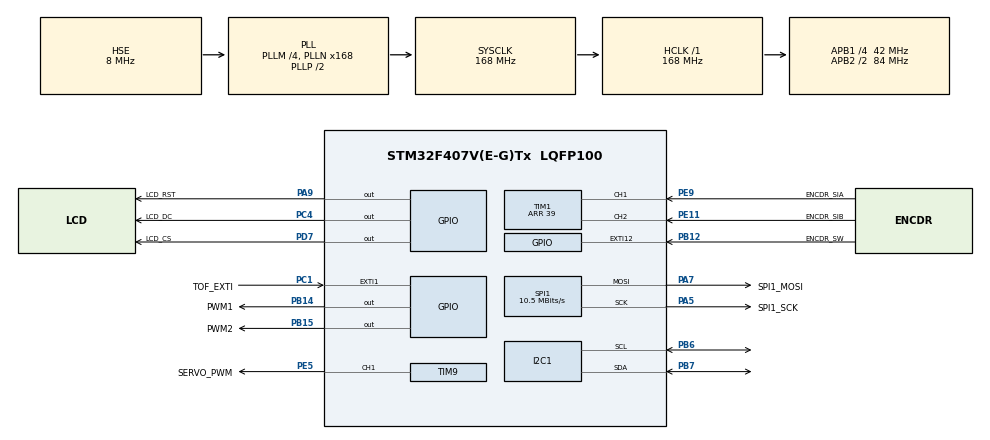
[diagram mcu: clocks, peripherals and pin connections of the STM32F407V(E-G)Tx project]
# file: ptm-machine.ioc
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I2C1.I2C_Mode=I2C_Fast
Mcu.Family=STM32F4
Mcu.Name=STM32F407V(E-G)Tx
Mcu.Package=LQFP100
NVIC.EXTI15_10_IRQn=true\:0\:0\:true\:false\:true\:true\:true
NVIC.EXTI1_IRQn=true\:0\:0\:true\:false\:true\:true\:true
NVIC.PriorityGroup=NVIC_PRIORITYGROUP_4
NVIC.TIM3_IRQn=true\:1\:0\:true\:false\:true\:true\:true
NVIC.TIM7_IRQn=true\:0\:0\:true\:false\:true\:true\:true
PA13.Mode=Serial_Wire
PA13.Signal=SYS_JTMS-SWDIO
PA14.Mode=Serial_Wire
PA14.Signal=SYS_JTCK-SWCLK
PA5.GPIO_Label=SPI1_SCK
PA5.Mode=TX_Only_Simplex_Unidirect_Master
PA5.Signal=SPI1_SCK
PA7.GPIO_Label=SPI1_MOSI
PA7.Mode=TX_Only_Simplex_Unidirect_Master
PA7.Signal=SPI1_MOSI
PA9.GPIO_Label=LCD_RST
PA9.Signal=GPIO_Output
PB12.GPIO_Label=ENCDR_SW
PB12.GPIO_ModeDefaultEXTI=GPIO_MODE_IT_FALLING
PB12.GPIO_PuPd=GPIO_PULLUP
PB12.Signal=GPXTI12
PB14.GPIO_Label=PWM1
PB14.GPIO_PuPd=GPIO_PULLDOWN
PB14.Signal=GPIO_Output
PB15.GPIO_Label=PWM2
PB15.GPIO_PuPd=GPIO_PULLDOWN
PB15.Signal=GPIO_Output
PB6.Mode=I2C
PB6.Signal=I2C1_SCL
PB7.Mode=I2C
PB7.Signal=I2C1_SDA
PC1.GPIO_Label=TOF_EXTI
PC1.GPIO_ModeDefaultEXTI=GPIO_MODE_IT_FALLING
PC1.GPIO_PuPd=GPIO_PULLUP
PC1.Signal=GPXTI1
PC4.GPIO_Label=LCD_DC
PC4.Signal=GPIO_Output
PD7.GPIO_Label=LCD_CS
PD7.Signal=GPIO_Output
PE11.GPIO_Label=ENCDR_SIB
PE11.Signal=S_TIM1_CH2
PE5.GPIO_Label=SERVO_PWM
PE5.Signal=S_TIM9_CH1
PE9.GPIO_Label=ENCDR_SIA
PE9.Signal=S_TIM1_CH1
PH0-OSC_IN.Mode=HSE-External-Oscillator
PH0-OSC_IN.Signal=RCC_OSC_IN
PH1-OSC_OUT.Mode=HSE-External-Oscillator
PH1-OSC_OUT.Signal=RCC_OSC_OUT
ProjectManager.HeapSize=0x200
ProjectManager.StackSize=0x400
ProjectManager.TargetToolchain=STM32CubeIDE
RCC.48MHZClocksFreq_Value=84000000
RCC.AHBFreq_Value=168000000
RCC.APB1CLKDivider=RCC_HCLK_DIV4
RCC.APB1Freq_Value=42000000
RCC.APB1TimFreq_Value=84000000
RCC.APB2CLKDivider=RCC_HCLK_DIV2
RCC.APB2Freq_Value=84000000
RCC.APB2TimFreq_Value=168000000
RCC.CortexFreq_Value=168000000
RCC.HCLKFreq_Value=168000000
RCC.HSE_VALUE=8000000
RCC.HSI_VALUE=16000000
RCC.LSE_VALUE=32768
RCC.PLLM=4
RCC.PLLN=168
RCC.PLLSourceVirtual=RCC_PLLSOURCE_HSE
RCC.SYSCLKFreq_VALUE=168000000
RCC.SYSCLKSource=RCC_SYSCLKSOURCE_PLLCLK
RCC.VCOOutputFreq_Value=336000000
SH.S_TIM1_CH1.0=TIM1_CH1,Encoder_Interface
SH.S_TIM1_CH2.0=TIM1_CH2,Encoder_Interface
SH.S_TIM9_CH1.0=TIM9_CH1,PWM Generation1 CH1
SPI1.BaudRatePrescaler=SPI_BAUDRATEPRESCALER_8
SPI1.CalculateBaudRate=10.5 MBits/s
SPI1.Direction=SPI_DIRECTION_2LINES
SPI1.Mode=SPI_MODE_MASTER
SPI1.VirtualType=VM_MASTER
TIM1.EncoderMode=TIM_ENCODERMODE_TI1
TIM1.IC1Filter=15
TIM1.IC1Polarity=TIM_ICPOLARITY_FALLING
TIM1.IC2Filter=15
TIM1.IC2Polarity=TIM_ICPOLARITY_FALLING
TIM1.Period=39
TIM3.AutoReloadPreload=TIM_AUTORELOAD_PRELOAD_ENABLE
TIM3.Period=9999
TIM3.Prescaler=1049
TIM7.AutoReloadPreload=TIM_AUTORELOAD_PRELOAD_ENABLE
TIM7.Period=99
TIM7.Prescaler=41999
TIM9.AutoReloadPreload=TIM_AUTORELOAD_PRELOAD_ENABLE
TIM9.Channel-PWM\ Generation1\ CH1=TIM_CHANNEL_1
TIM9.Period=19999
TIM9.Prescaler=167
VP_TIM3_VS_ClockSourceINT.Mode=Internal
VP_TIM7_VS_ClockSourceINT.Mode=Enable_Timer
VP_TIM9_VS_ClockSourceINT.Mode=Internal
board=custom

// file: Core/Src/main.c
/* USER CODE BEGIN Header */
/**
 ******************************************************************************
 * @file           : main.c
 * @brief          : Main program body
 ******************************************************************************
 * @attention
 *
 * <h2><center>&copy; Copyright (c) 2020 STMicroelectronics.
 * All rights reserved.</center></h2>
 *
 * This software component is licensed by ST under BSD 3-Clause license,
 * the "License"; You may not use this file except in compliance with the
 * License. You may obtain a copy of the License at:
 *                        opensource.org/licenses/BSD-3-Clause
 *
 ******************************************************************************
 */
/* USER CODE END Header */
#include "main.h"
#include "i2c.h"
#include "spi.h"
#include "tim.h"
#include "gpio.h"

/* USER CODE BEGIN Includes */
#include <string.h>

// Servo
#include "Servo.h"

// LED screen
#include "lcd_menu.h"

// Pumps
#include "pumps.h"

// Distance sensor
#include "vl53l0x_api.h"

/* USER CODE END Includes */

/* USER CODE BEGIN PV */
// Distance sensor
VL53L0X_RangingMeasurementData_t RangingData;
VL53L0X_Dev_t vl53l0x_c;
VL53L0X_DEV Dev = &vl53l0x_c;

/* USER CODE END PV */

void SystemClock_Config(void);

int main(void)
{
  /* USER CODE BEGIN 1 */
  uint32_t refSpadCount;
  uint8_t isApertureSpads;
  uint8_t VhvSettings;
  uint8_t PhaseCal;
  /* USER CODE END 1 */

  /* MCU Configuration--------------------------------------------------------*/

  /* Reset of all peripherals, Initializes the Flash interface and the Systick. */
  HAL_Init();

  /* Configure the system clock */
  SystemClock_Config();

  /* Initialize all configured peripherals */
  MX_GPIO_Init();
  MX_SPI1_Init();
  MX_I2C1_Init();
  MX_TIM1_Init();
  MX_TIM7_Init();
  MX_TIM3_Init();
  MX_TIM9_Init();
  /* USER CODE BEGIN 2 */

  // Init settings variables
  liquid1 = 50;
  liquid2 = 50;

  // Start servo's PWM
  HAL_TIM_PWM_Start(&htim9, TIM_CHANNEL_1);
  servo_set_angle(0, 0);

  // Start encoder channels
  HAL_TIM_Encoder_Start(&htim1, TIM_CHANNEL_ALL);

  // Init of LCD and menu
  menu_init(8, 12);

  // Start pumps
  pumps_init();

  // Init VL53L0X
  Dev->I2cHandle = &hi2c1;
  Dev->I2cDevAddr = 0x52;
  HAL_NVIC_DisableIRQ(EXTI1_IRQn);
  VL53L0X_WaitDeviceBooted( Dev );
  VL53L0X_DataInit( Dev );
  VL53L0X_StaticInit( Dev );
  VL53L0X_PerformRefCalibration(Dev, &VhvSettings, &PhaseCal);
  VL53L0X_PerformRefSpadManagement(Dev, &refSpadCount, &isApertureSpads);
  VL53L0X_SetDeviceMode(Dev, VL53L0X_DEVICEMODE_CONTINUOUS_TIMED_RANGING);
  VL53L0X_SetInterMeasurementPeriodMilliSeconds(Dev, 200);
  VL53L0X_SetGpioConfig(Dev, TOF_EXTI_Pin, VL53L0X_DEVICEMODE_CONTINUOUS_TIMED_RANGING, VL53L0X_GPIOFUNCTIONALITY_THRESHOLD_CROSSED_LOW, VL53L0X_INTERRUPTPOLARITY_LOW);
  VL53L0X_StartMeasurement(Dev);
  HAL_NVIC_EnableIRQ(EXTI1_IRQn);

  /* USER CODE END 2 */

  /* Infinite loop */
  /* USER CODE BEGIN WHILE */
  while (1)
  {
    menu_update();

    /* USER CODE END WHILE */

  }
}

void SystemClock_Config(void)
{
  RCC_OscInitTypeDef RCC_OscInitStruct = {0};
  RCC_ClkInitTypeDef RCC_ClkInitStruct = {0};

  /** Configure the main internal regulator output voltage
  */
  __HAL_RCC_PWR_CLK_ENABLE();
  __HAL_PWR_VOLTAGESCALING_CONFIG(PWR_REGULATOR_VOLTAGE_SCALE1);
  /** Initializes the RCC Oscillators according to the specified parameters
  * in the RCC_OscInitTypeDef structure.
  */
  RCC_OscInitStruct.OscillatorType = RCC_OSCILLATORTYPE_HSE;
  RCC_OscInitStruct.HSEState = RCC_HSE_ON;
  RCC_OscInitStruct.PLL.PLLState = RCC_PLL_ON;
  RCC_OscInitStruct.PLL.PLLSource = RCC_PLLSOURCE_HSE;
  RCC_OscInitStruct.PLL.PLLM = 4;
  RCC_OscInitStruct.PLL.PLLN = 168;
  RCC_OscInitStruct.PLL.PLLP = RCC_PLLP_DIV2;
  RCC_OscInitStruct.PLL.PLLQ = 4;
  if (HAL_RCC_OscConfig(&RCC_OscInitStruct) != HAL_OK)
  {
    Error_Handler();
  }
  /** Initializes the CPU, AHB and APB buses clocks
  */
  RCC_ClkInitStruct.ClockType = RCC_CLOCKTYPE_HCLK|RCC_CLOCKTYPE_SYSCLK
                              |RCC_CLOCKTYPE_PCLK1|RCC_CLOCKTYPE_PCLK2;
  RCC_ClkInitStruct.SYSCLKSource = RCC_SYSCLKSOURCE_PLLCLK;
  RCC_ClkInitStruct.AHBCLKDivider = RCC_SYSCLK_DIV1;
  RCC_ClkInitStruct.APB1CLKDivider = RCC_HCLK_DIV4;
  RCC_ClkInitStruct.APB2CLKDivider = RCC_HCLK_DIV2;

  if (HAL_RCC_ClockConfig(&RCC_ClkInitStruct, FLASH_LATENCY_5) != HAL_OK)
  {
    Error_Handler();
  }
}

/* USER CODE BEGIN 4 */
void HAL_GPIO_EXTI_Callback(uint16_t GPIO_Pin)
{
  // Handle distance sensor interrupts
  if(GPIO_Pin == TOF_EXTI_Pin) {
    VL53L0X_GetRangingMeasurementData(Dev, &RangingData);
    VL53L0X_ClearInterruptMask(Dev, VL53L0X_REG_SYSTEM_INTERRUPT_GPIO_NEW_SAMPLE_READY);
    distance_milimeters = RangingData.RangeMilliMeter;
  }

  // Handle encoder interrupts - debounce pressed encoder
  else if(GPIO_Pin == ENCDR_SW_Pin) {
    if(encoder_is_pressed == 0) {
      encoder_is_pressed = 1;
      HAL_TIM_Base_Start_IT(&htim7);
    }
  }

}

void HAL_TIM_PeriodElapsedCallback(TIM_HandleTypeDef *htim)
{
  // Handle pressed, debounced encoder
  if(htim->Instance == TIM7) {
    if(HAL_GPIO_ReadPin(ENCDR_SW_GPIO_Port, ENCDR_SW_Pin) == GPIO_PIN_RESET) {
      encoder_handle_click();
      encoder_is_pressed = 0;
      HAL_TIM_Base_Stop_IT(&htim7);
    }
  }
  // Measurement & pouring timer
  else if(htim->Instance == TIM3) {
    if(menu_state == MENU_STATE_MEASUREMENT)
      perform_cup_height_measurement();
    else if(menu_state == MENU_STATE_POURING)
      perform_pouring();
  }
}

/* USER CODE END 4 */

void Error_Handler(void)
{
}

/************************ (C) COPYRIGHT STMicroelectronics *****END OF FILE****/
